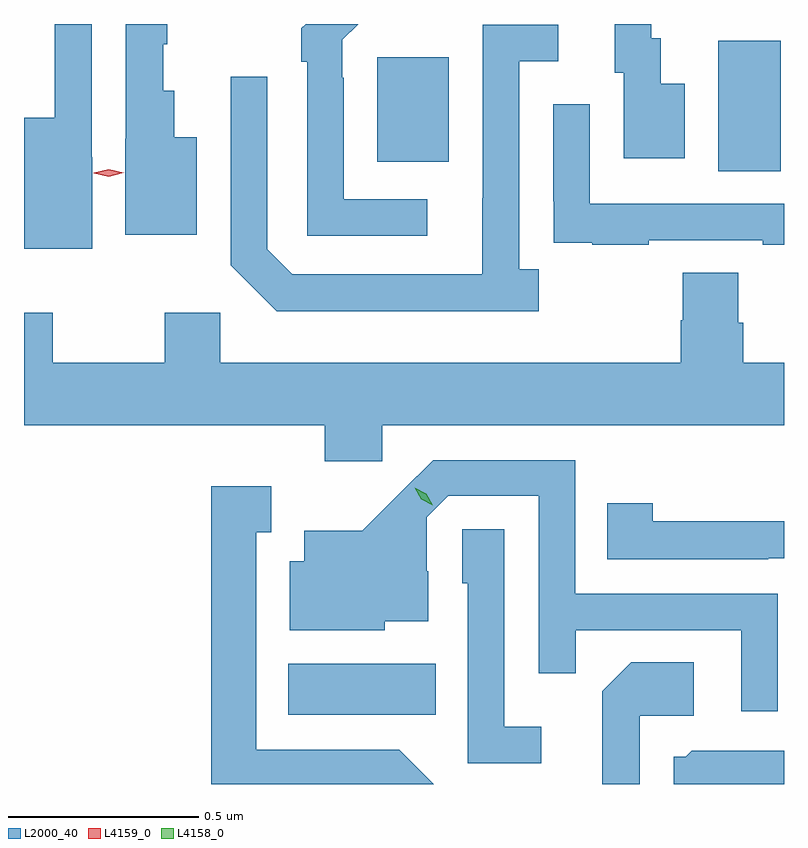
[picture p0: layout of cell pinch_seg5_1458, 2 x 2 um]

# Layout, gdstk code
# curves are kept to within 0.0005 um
import gdstk
lib = gdstk.Library(unit=1e-6, precision=1e-09)
def R(c, l, rs):  # rectangles x0, y0, x1, y1
    for r in rs: c.add(gdstk.rectangle(r[:2], r[2:], *l))
def P(c, l, *ps):  # polygons
    for p in ps: c.add(gdstk.Polygon(p, *l))
L2000_40 = (2000, 40)
L4158_0 = (4158, 0)
L4159_0 = (4159, 0)

pinch_seg5_1458 = lib.new_cell('pinch_seg5_1458')
R(pinch_seg5_1458, L2000_40, [(136.481,907.946,136.868,908.08), (137.612,909.376,137.776,909.72), (136.715,909.401,136.903,909.676)])
P(pinch_seg5_1458, L2000_40, [(137.524,909.607),(137.461,909.607),(137.461,909.726),(137.436,909.726),(137.436,909.764),(137.339,909.764),(137.339,909.636),(137.363,909.636),(137.363,909.411),(137.524,909.411)],
  [(136.24,909.466),(136.18,909.466),(136.18,909.589),(136.151,909.589),(136.151,909.711),(136.162,909.711),(136.162,909.764),(136.053,909.764),(136.053,909.462),(136.052,909.462),(136.052,909.209),(136.24,909.209)],
  [(136.846,909.303),(136.626,909.303),(136.626,909.623),(136.623,909.623),(136.623,909.723),(136.664,909.764),(136.526,909.764),(136.515,909.753),(136.515,909.665),(136.53,909.665),(136.53,909.207),(136.846,909.207)],
  [(135.964,909.413),(135.963,909.413),(135.963,909.764),(135.866,909.764),(135.866,909.517),(135.785,909.517),(135.785,909.173),(135.964,909.173)],
  [(137.14,909.118),(137.088,909.118),(137.088,909.666),(137.191,909.666),(137.191,909.762),(136.992,909.762),(136.992,909.305),(136.991,909.305),(136.991,909.105),(136.491,909.105),(136.425,909.171),(136.425,909.625),(136.329,909.625),(136.329,909.129),(136.45,909.008),(137.14,909.008)],
  [(137.429,909.195),(137.729,909.195),(137.729,909.183),(137.785,909.183),(137.785,909.291),(137.274,909.291),(137.274,909.553),(137.178,909.553),(137.178,909.298),(137.179,909.298),(137.179,909.189),(137.281,909.189),(137.281,909.183),(137.429,909.183)],
  [(137.785,908.872),(137.678,908.872),(137.678,908.978),(137.665,908.978),(137.665,909.11),(137.518,909.11),(137.518,908.985),(137.513,908.985),(137.513,908.872),(136.302,908.872),(136.302,909.004),(136.156,909.004),(136.156,908.872),(135.861,908.872),(135.861,909.004),(135.785,909.004),(135.785,908.708),(136.577,908.708),(136.577,908.613),(136.728,908.613),(136.728,908.708),(137.785,908.708)],
  [(137.769,908.265),(137.235,908.265),(137.235,908.616),(136.862,908.616),(136.675,908.431),(136.523,908.431),(136.523,908.35),(136.484,908.35),(136.484,908.168),(136.734,908.168),(136.734,908.192),(136.849,908.192),(136.849,908.324),(136.845,908.324),(136.845,908.466),(136.902,908.523),(137.139,908.523),(137.139,908.056),(137.237,908.056),(137.237,908.169),(137.673,908.169),(137.673,907.956),(137.769,907.956)],
  [(136.773,907.854),(136.396,907.854),(136.396,908.427),(136.435,908.427),(136.435,908.548),(136.278,908.548),(136.278,907.764),(136.863,907.764)],
  [(137.744,908.358),(137.785,908.358),(137.785,908.456),(137.439,908.456),(137.439,908.503),(137.32,908.503),(137.32,908.355),(137.744,908.355)],
  [(137.146,907.915),(137.049,907.915),(137.049,908.435),(136.938,908.435),(136.938,908.292),(136.953,908.292),(136.953,907.818),(137.146,907.818)],
  [(137.406,907.944),(137.548,907.944),(137.548,908.084),(137.383,908.084),(137.307,908.008),(137.307,907.764),(137.406,907.764)],
  [(137.785,907.851),(137.676,907.851),(137.676,907.852),(137.542,907.852),(137.526,907.836),(137.495,907.836),(137.495,907.764),(137.785,907.764)])
P(pinch_seg5_1458, L4158_0, [(136.861,908.498),(136.83,908.514),(136.813,908.544),(136.813,908.544),(136.813,908.544),(136.844,908.528),(136.861,908.498),(136.861,908.498)])
P(pinch_seg5_1458, L4159_0, [(136.008,909.362),(135.968,909.371),(135.968,909.371),(135.968,909.372),(136.008,909.382),(136.048,909.372),(136.048,909.372),(136.048,909.372)])

lib.write_gds('pinch_seg5_1458.gds')
